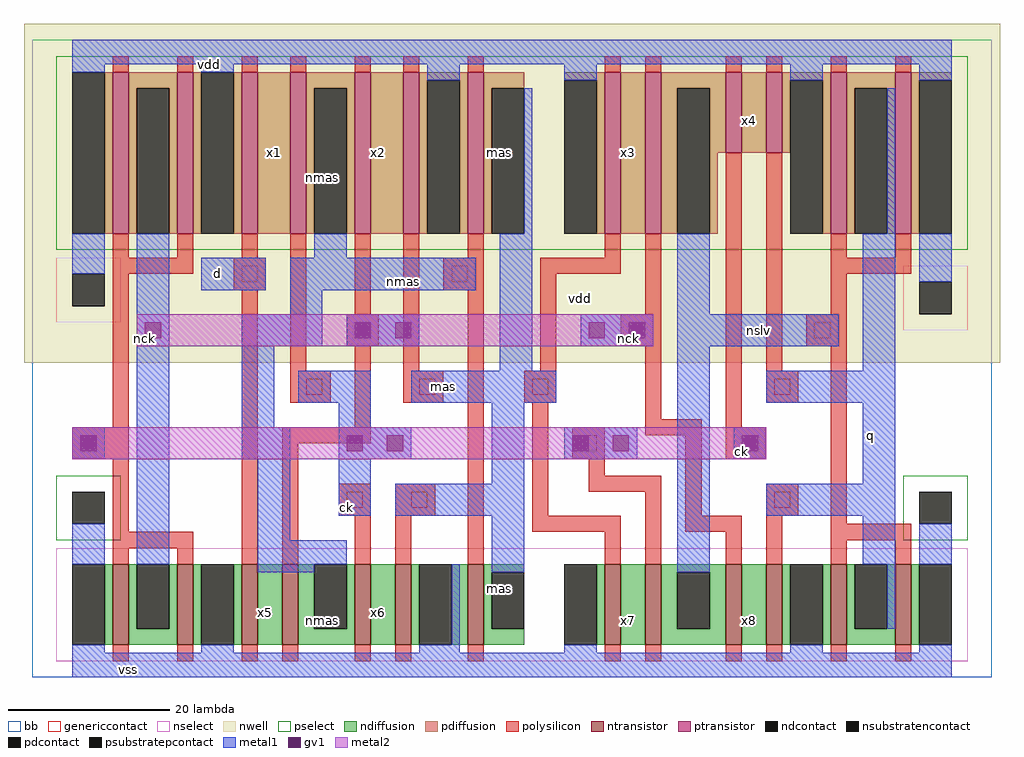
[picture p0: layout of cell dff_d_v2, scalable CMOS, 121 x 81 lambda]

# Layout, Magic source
magic
tech scmos
<< nwell >>
rect -1 39 120 81
<< nselect >>
rect 3 44 11 52
rect 108 43 116 51
rect 3 2 116 16
<< pselect >>
rect 3 53 116 77
rect 3 17 11 25
rect 108 17 116 25
<< ntransistor >>
rect 10 4 12 14
rect 18 4 20 14
rect 26 4 28 14
rect 31 4 33 14
rect 40 4 42 14
rect 45 4 47 14
rect 54 4 56 14
rect 71 4 73 14
rect 76 4 78 14
rect 86 4 88 14
rect 91 4 93 14
rect 99 4 101 14
rect 107 4 109 14
<< ptransistor >>
rect 10 55 12 75
rect 18 55 20 75
rect 26 55 28 75
rect 32 55 34 75
rect 40 55 42 75
rect 46 55 48 75
rect 54 55 56 75
rect 71 55 73 75
rect 76 55 78 75
rect 86 65 88 75
rect 91 65 93 75
rect 99 55 101 75
rect 107 55 109 75
<< ndiffusion >>
rect 9 4 10 14
rect 12 6 13 14
rect 17 6 18 14
rect 12 4 18 6
rect 20 4 21 14
rect 25 4 26 14
rect 28 4 31 14
rect 33 6 35 14
rect 39 6 40 14
rect 33 4 40 6
rect 42 4 45 14
rect 47 4 48 14
rect 52 4 54 14
rect 56 13 61 14
rect 56 6 57 13
rect 56 4 61 6
rect 70 4 71 14
rect 73 4 76 14
rect 78 13 86 14
rect 78 6 80 13
rect 84 6 86 13
rect 78 4 86 6
rect 88 4 91 14
rect 93 4 94 14
rect 98 4 99 14
rect 101 6 102 14
rect 106 6 107 14
rect 101 4 107 6
rect 109 4 110 14
<< pdiffusion >>
rect 9 55 10 75
rect 12 73 18 75
rect 12 55 13 73
rect 17 55 18 73
rect 20 55 21 75
rect 25 55 26 75
rect 28 55 32 75
rect 34 73 40 75
rect 34 55 35 73
rect 39 55 40 73
rect 42 55 46 75
rect 48 74 54 75
rect 48 55 49 74
rect 53 55 54 74
rect 56 73 61 75
rect 56 55 57 73
rect 66 74 71 75
rect 70 55 71 74
rect 73 55 76 75
rect 78 73 86 75
rect 78 55 80 73
rect 84 65 86 73
rect 88 65 91 75
rect 93 74 99 75
rect 93 65 94 74
rect 84 55 85 65
rect 98 55 99 74
rect 101 73 107 75
rect 101 55 102 73
rect 106 55 107 73
rect 109 74 114 75
rect 109 55 110 74
<< ndcontact >>
rect 5 4 9 14
rect 13 6 17 14
rect 21 4 25 14
rect 35 6 39 14
rect 48 4 52 14
rect 57 6 61 13
rect 66 4 70 14
rect 80 6 84 13
rect 94 4 98 14
rect 102 6 106 14
rect 110 4 114 14
<< pdcontact >>
rect 5 55 9 75
rect 13 55 17 73
rect 21 55 25 75
rect 35 55 39 73
rect 49 55 53 74
rect 57 55 61 73
rect 66 55 70 74
rect 80 55 84 73
rect 94 55 98 74
rect 102 55 106 73
rect 110 55 114 74
<< psubstratepcontact >>
rect 5 19 9 23
rect 110 19 114 23
<< nsubstratencontact >>
rect 5 46 9 50
rect 110 45 114 49
<< polysilicon >>
rect 10 75 12 77
rect 18 75 20 77
rect 26 75 28 77
rect 32 75 34 77
rect 40 75 42 77
rect 46 75 48 77
rect 54 75 56 77
rect 71 75 73 77
rect 76 75 78 77
rect 86 75 88 77
rect 91 75 93 77
rect 99 75 101 77
rect 107 75 109 77
rect 10 52 12 55
rect 18 52 20 55
rect 26 52 28 55
rect 10 50 20 52
rect 10 31 12 50
rect 25 48 29 52
rect 5 27 12 31
rect 10 18 12 27
rect 10 16 20 18
rect 10 14 12 16
rect 18 14 20 16
rect 26 14 28 48
rect 32 38 34 55
rect 40 45 42 55
rect 39 41 43 45
rect 32 34 37 38
rect 40 31 42 41
rect 46 38 48 55
rect 54 52 56 55
rect 71 52 73 55
rect 51 48 56 52
rect 46 34 51 38
rect 31 29 42 31
rect 31 14 33 29
rect 38 20 42 24
rect 40 14 42 20
rect 45 20 50 24
rect 45 14 47 20
rect 54 14 56 48
rect 63 50 73 52
rect 63 38 65 50
rect 76 45 78 55
rect 73 41 78 45
rect 61 34 65 38
rect 62 20 64 34
rect 76 32 78 41
rect 67 27 71 31
rect 76 30 83 32
rect 69 25 71 27
rect 69 23 78 25
rect 62 18 73 20
rect 71 14 73 18
rect 76 14 78 23
rect 81 20 83 30
rect 86 31 88 65
rect 91 38 93 65
rect 99 52 101 55
rect 107 52 109 55
rect 99 50 109 52
rect 99 45 101 50
rect 96 41 101 45
rect 91 34 95 38
rect 86 27 91 31
rect 91 20 95 24
rect 81 18 88 20
rect 86 14 88 18
rect 91 14 93 20
rect 99 19 101 41
rect 99 17 109 19
rect 99 14 101 17
rect 107 14 109 17
rect 10 2 12 4
rect 18 2 20 4
rect 26 2 28 4
rect 31 2 33 4
rect 40 2 42 4
rect 45 2 47 4
rect 54 2 56 4
rect 71 2 73 4
rect 76 2 78 4
rect 86 2 88 4
rect 91 2 93 4
rect 99 2 101 4
rect 107 2 109 4
<< genericcontact >>
rect 26 49 28 51
rect 52 49 54 51
rect 40 42 42 44
rect 74 42 76 44
rect 97 42 99 44
rect 34 35 36 37
rect 48 35 50 37
rect 62 35 64 37
rect 92 35 94 37
rect 6 28 8 30
rect 68 28 70 30
rect 88 28 90 30
rect 39 21 41 23
rect 47 21 49 23
rect 92 21 94 23
<< metal1 >>
rect 5 76 114 79
rect 5 75 9 76
rect 21 75 25 76
rect 5 50 9 55
rect 49 74 53 76
rect 66 74 70 76
rect 61 55 62 73
rect 94 74 98 76
rect 110 74 114 76
rect 106 55 107 73
rect 5 27 9 31
rect 5 14 9 19
rect 13 14 17 55
rect 35 52 39 55
rect 21 48 29 52
rect 32 48 55 52
rect 32 45 36 48
rect 26 41 36 45
rect 39 41 48 45
rect 26 31 30 41
rect 58 38 62 55
rect 80 45 84 55
rect 68 41 77 45
rect 80 41 100 45
rect 33 34 42 38
rect 47 34 65 38
rect 38 31 42 34
rect 26 27 32 31
rect 28 17 32 27
rect 38 27 47 31
rect 38 20 42 27
rect 57 24 61 34
rect 66 27 75 31
rect 45 20 61 24
rect 28 14 39 17
rect 5 3 9 4
rect 28 13 35 14
rect 21 3 25 4
rect 52 4 53 14
rect 57 13 61 20
rect 48 3 53 4
rect 80 13 84 41
rect 103 38 107 55
rect 110 49 114 55
rect 91 34 107 38
rect 87 27 91 31
rect 103 24 107 34
rect 91 20 107 24
rect 103 14 107 20
rect 66 3 70 4
rect 106 6 107 14
rect 110 14 114 19
rect 94 3 98 4
rect 110 3 114 4
rect 5 0 114 3
<< metal2 >>
rect 13 41 77 45
rect 5 27 91 31
<< gv1 >>
rect 14 42 16 44
rect 40 42 42 44
rect 45 42 47 44
rect 69 42 71 44
rect 74 42 76 44
rect 6 28 8 30
rect 39 28 41 30
rect 44 28 46 30
rect 67 28 69 30
rect 72 28 74 30
rect 88 28 90 30
<< bb >>
rect 0 0 119 79
<< labels >>
rlabel ndiffusion s 43 8 43 8 2 x6
rlabel pdiffusion s 30 65 30 65 2 x1
rlabel pdiffusion s 43 65 43 65 2 x2
rlabel metal1 s 12 1 12 1 2 vss
port 5 s
rlabel metal1 s 22 76 22 76 2 vdd
port 4 n
rlabel metal1 s 23 50 23 50 2 d
port 2 s
rlabel ndiffusion 29 8 29 8 2 x5
rlabel metal1 14 42 14 42 2 nck
rlabel metal1 s 39 21 39 21 2 ck
port 3 ne
rlabel metal1 s 46 49 46 49 2 nmas
rlabel metal1 s 36 62 36 62 2 nmas
rlabel metal1 s 36 7 36 7 2 nmas
rlabel metal1 s 51 36 51 36 2 mas
rlabel metal1 s 58 65 58 65 2 mas
rlabel metal1 s 58 11 58 11 2 mas
rlabel ndiffusion s 74 7 74 7 2 x7
rlabel ndiffusion s 89 7 89 7 2 x8
rlabel pdiffusion s 74 65 74 65 2 x3
rlabel pdiffusion s 89 69 89 69 2 x4
rlabel metal1 s 104 30 104 30 2 q
port 1 e
rlabel nwell s 68 47 68 47 2 vdd
rlabel metal1 s 74 42 74 42 2 nck
rlabel metal1 s 88 28 88 28 2 ck
rlabel metal1 s 90 43 90 43 2 nslv
<< end >>
